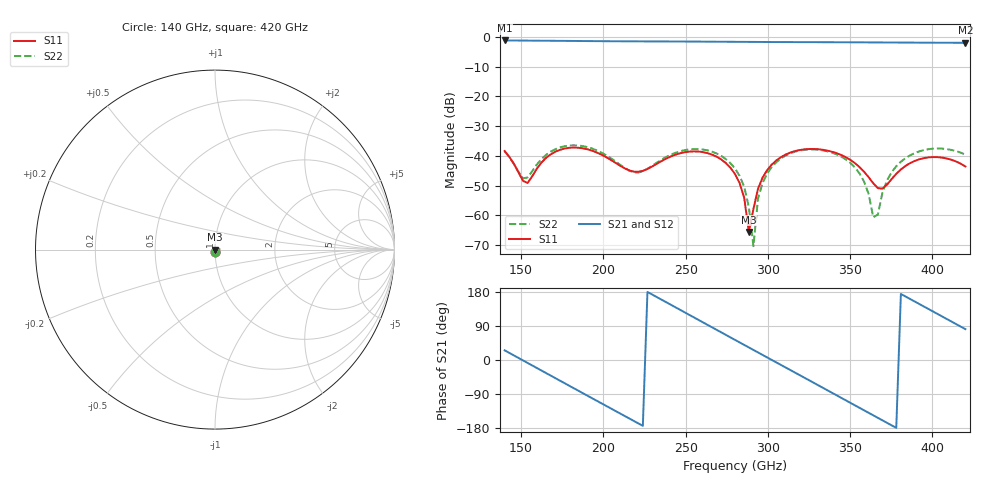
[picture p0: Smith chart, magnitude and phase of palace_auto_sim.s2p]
#  GHZ S DB R 50
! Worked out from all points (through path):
!   101 points, 140 GHz to 420 GHz, reference 50 ohm
!   highest |S21| = -1.18 dB at 140 GHz (marker M1); lowest = -2.0 dB at 420 GHz (marker M2)
!   group delay of S21, straight-line fit = 6.59 ps
!   lowest |S11| = -65.5 dB at 288.4 GHz (marker M3), VSWR 1.00, Z = 50 - j0.0477 ohm
!   |S11| at or under -10 dB: start of sweep to end of sweep
!   |S22| runs from -70.3 to -36.4 dB; largest |S21 - S12| = 1.4e-13
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140  -38.36 -94.8  -1.18 25.5  -1.18 25.5  -38.41 -93.3
154  -49.07 -40.6  -1.23 -7.8  -1.23 -7.8  -47.25 -35.3
168  -39.48 -12.1  -1.29 -41.1  -1.29 -41.1  -38.56 -15.7
187.6  -37.45 -43.8  -1.38 -87.7  -1.38 -87.7  -36.70 -48.2
212.8  -44.12 -52.2  -1.47 -147.3  -1.47 -147.3  -43.99 -59.7
235.2  -41.78 -10.0  -1.52 159.6  -1.52 159.6  -41.31 -11.6
257.6  -38.52 -39.3  -1.57 106.3  -1.57 106.3  -37.70 -43.2
280  -46.08 -86.1  -1.64 53.1  -1.64 53.1  -44.23 -93.9
285.6  -54.07 -92.6  -1.66 39.8  -1.66 39.8  -50.37 -108.5
288.4  -65.53 -64.4  -1.67 33.2  -1.67 33.2  -57.12 -118.1
291.2  -57.88 45.6  -1.68 26.6  -1.68 26.6  -70.34 86.3
294  -51.00 48.4  -1.69 19.9  -1.69 19.9  -54.29 57.7
299.6  -44.73 38.9  -1.70 6.7  -1.70 6.7  -45.86 41.8
310.8  -39.54 13.6  -1.73 -19.8  -1.73 -19.8  -39.86 14.1
327.6  -37.67 -25.6  -1.76 -59.6  -1.76 -59.6  -37.80 -25.1
352.8  -42.39 -92.5  -1.81 -119.4  -1.81 -119.4  -43.84 -84.6
358.4  -45.29 -115.1  -1.83 -132.7  -1.83 -132.7  -48.59 -101.8
364  -49.18 -150.9  -1.84 -146.0  -1.84 -146.0  -60.60 -146.9
366.8  -50.82 -179.1  -1.85 -152.6  -1.85 -152.6  -59.76 104.4
375.2  -47.77 96.5  -1.87 -172.5  -1.87 -172.5  -45.47 53.6
394.8  -40.74 19.9  -1.92 141.1  -1.92 141.1  -38.03 0.1
420  -43.54 -56.5  -1.98 81.4  -1.98 81.4  -39.56 -69.8
